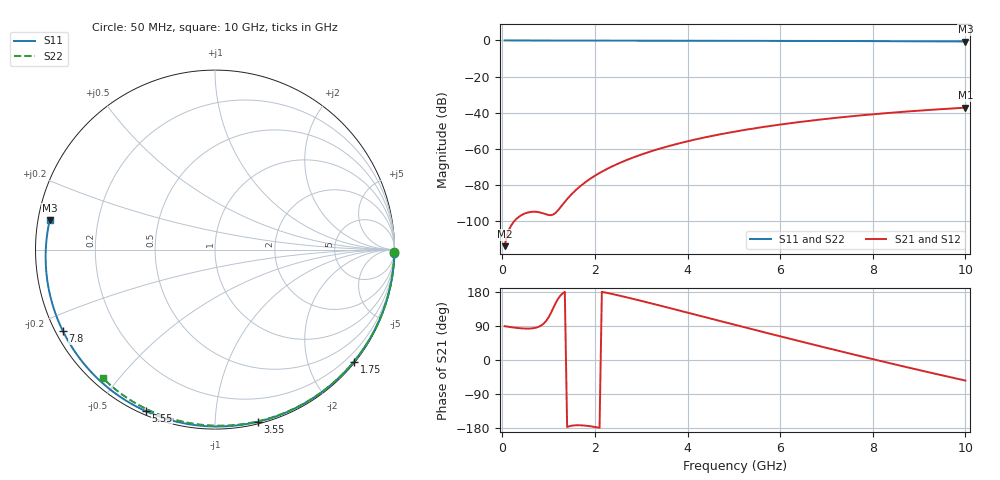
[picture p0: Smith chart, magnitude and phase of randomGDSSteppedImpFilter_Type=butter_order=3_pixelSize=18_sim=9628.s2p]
! freq	dB(S11)	phase(S11)	dB(S12)	phase(S12)
!  dB(S21)	phase(S21)	dB(S22)	phase(S22)
!S-par simulation data
#  GHz  S  DB  R 50
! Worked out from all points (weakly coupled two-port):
!   200 points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, 50 MHz to 10 GHz, reference 50 ohm
!   highest |S21| = -37.16 dB at 10 GHz (marker M1); lowest = -113.7 dB at 50 MHz (marker M2)
!   lowest |S11| = -0.6 dB at 10 GHz (marker M3), VSWR 29.91, Z = 1.68 + j4.43 ohm
!   |S11| at or under -10 dB: nowhere
!   |S22| runs from -0.4 to 0.0 dB; largest |S21 - S12| = 0
!   S11 on the Smith chart (normalised r, x): 50 MHz: open; 1.75 GHz: 0.03, -2.83; 3.55 GHz: 0.02, -1.28; 5.55 GHz: 0.02, -0.66; 7.8 GHz: 0.02, -0.25; 10 GHz: 0.03, +0.09
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0.05  -0.00 -1.1  -113.69 89.2  -113.69 89.2  -0.00 -0.8
0.45  -0.01 -10.2  -96.05 83.2  -96.05 83.2  -0.01 -6.8
0.85  -0.02 -19.1  -95.30 92.0  -95.30 92.0  -0.02 -12.8
1.25  -0.04 -28.0  -92.42 169.3  -92.42 169.3  -0.02 -18.8
1.7  -0.05 -37.8  -80.20 -172.3  -80.20 -172.3  -0.03 -25.4
1.75  -0.05 -38.9  -79.18 -172.8  -79.18 -172.8  -0.03 -26.2
2.05  -0.06 -45.3  -73.99 -177.8  -73.99 -177.8  -0.04 -30.6
2.25  -0.06 -49.5  -71.15 177.4  -71.15 177.4  -0.04 -33.5
2.45  -0.07 -53.7  -68.67 172.1  -68.67 172.1  -0.05 -36.4
2.9  -0.08 -63.0  -63.97 159.1  -63.97 159.1  -0.06 -42.8
3.4  -0.10 -73.1  -59.79 143.8  -59.79 143.8  -0.07 -49.8
3.55  -0.10 -76.0  -58.69 139.1  -58.69 139.1  -0.07 -51.9
4.3  -0.13 -90.4  -53.98 115.6  -53.98 115.6  -0.09 -62.2
5.05  -0.16 -104.3  -50.25 92.0  -50.25 92.0  -0.11 -72.1
5.55  -0.18 -113.2  -48.15 76.4  -48.15 76.4  -0.13 -78.6
6.1  -0.21 -122.8  -46.13 59.4  -46.13 59.4  -0.15 -85.5
6.7  -0.25 -133.1  -44.20 41.1  -44.20 41.1  -0.18 -92.9
7.25  -0.30 -142.5  -42.65 24.6  -42.65 24.6  -0.21 -99.6
7.8  -0.34 -151.8  -41.27 8.2  -41.27 8.2  -0.25 -106.1
8.35  -0.39 -161.1  -40.05 -7.9  -40.05 -7.9  -0.29 -112.5
9.2  -0.49 -175.8  -38.43 -32.2  -38.43 -32.2  -0.36 -122.2
10  -0.58 169.9  -37.16 -54.2  -37.16 -54.2  -0.44 -131.2
